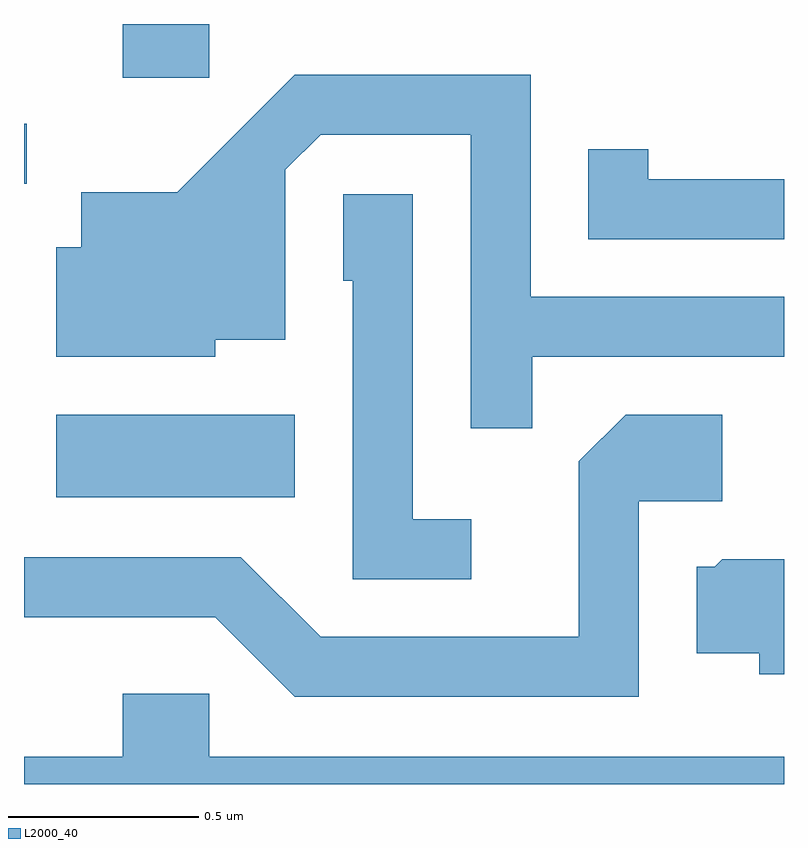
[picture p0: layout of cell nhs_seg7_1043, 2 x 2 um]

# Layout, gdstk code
import gdstk
lib = gdstk.Library(unit=1e-6, precision=1e-09)
def R(c, l, rs):  # rectangles x0, y0, x1, y1
    for r in rs: c.add(gdstk.rectangle(r[:2], r[2:], *l))
def P(c, l, *ps):  # polygons
    for p in ps: c.add(gdstk.Polygon(p, *l))
L2000_40 = (2000, 40)

nhs_seg7_1043 = lib.new_cell('nhs_seg7_1043')
R(nhs_seg7_1043, L2000_40, [(192.696,1753.006,193.324,1753.224), (192.611,1753.831,192.618,1753.989), (192.871,1754.111,193.099,1754.252)])
P(nhs_seg7_1043, L2000_40, [(193.949,1753.376),(194.611,1753.376),(194.611,1753.534),(193.944,1753.534),(193.944,1754.119),(193.324,1754.119),(193.014,1753.809),(192.761,1753.809),(192.761,1753.664),(192.696,1753.664),(192.696,1753.376),(193.114,1753.376),(193.114,1753.421),(193.299,1753.421),(193.299,1753.869),(193.392,1753.961),(193.786,1753.961),(193.786,1753.188),(193.949,1753.188)],
  [(194.611,1753.844),(194.254,1753.844),(194.254,1753.923),(194.096,1753.923),(194.096,1753.686),(194.611,1753.686)],
  [(193.788,1752.949),(193.634,1752.949),(193.634,1753.804),(193.451,1753.804),(193.451,1753.576),(193.476,1753.576),(193.476,1752.791),(193.788,1752.791)],
  [(194.229,1752.996),(194.449,1752.996),(194.449,1753.224),(194.194,1753.224),(194.071,1753.102),(194.071,1752.639),(193.392,1752.639),(193.182,1752.849),(192.611,1752.849),(192.611,1752.691),(193.114,1752.691),(193.324,1752.481),(194.229,1752.481)],
  [(194.611,1752.844),(194.449,1752.844),(194.429,1752.824),(194.381,1752.824),(194.381,1752.596),(194.546,1752.596),(194.546,1752.541),(194.611,1752.541)],
  [(194.611,1752.324),(193.099,1752.324),(193.099,1752.489),(192.871,1752.489),(192.871,1752.324),(192.611,1752.324),(192.611,1752.252),(194.611,1752.252)])

lib.write_gds('nhs_seg7_1043.gds')
